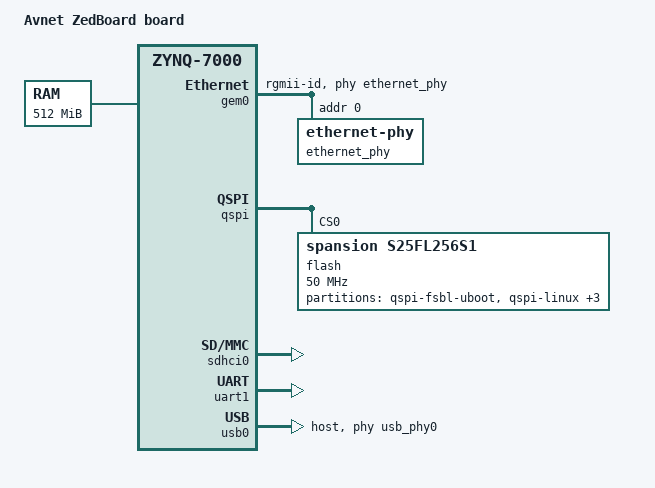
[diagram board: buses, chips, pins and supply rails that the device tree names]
// SPDX-License-Identifier: GPL-2.0+
/*
 *  Copyright (C) 2011 - 2015 Xilinx
 *  Copyright (C) 2012 National Instruments Corp.
 */
/dts-v1/;
#include "zynq-7000.dtsi"

/ {
	model = "Avnet ZedBoard board";
	compatible = "avnet,zynq-zed", "xlnx,zynq-zed", "xlnx,zynq-7000";

	aliases {
		ethernet0 = &gem0;
		serial0 = &uart1;
		spi0 = &qspi;
		mmc0 = &sdhci0;
	};

	memory@0 {
		device_type = "memory";
		reg = <0x0 0x20000000>;
	};

	chosen {
		bootargs = "";
		stdout-path = "serial0:115200n8";
	};

	usb_phy0: phy0@e0002000 {
		compatible = "ulpi-phy";
		#phy-cells = <0>;
		reg = <0xe0002000 0x1000>;
		view-port = <0x0170>;
		drv-vbus;
	};
};

&clkc {
	ps-clk-frequency = <33333333>;
};

&gem0 {
	status = "okay";
	phy-mode = "rgmii-id";
	phy-handle = <&ethernet_phy>;

	ethernet_phy: ethernet-phy@0 {
		reg = <0>;
		device_type = "ethernet-phy";
	};
};

&qspi {
	u-boot,dm-pre-reloc;
	status = "okay";
	is-dual = <0>;
	num-cs = <1>;
	flash@0 {
		compatible = "spansion,s25fl256s1", "jedec,spi-nor";
		reg = <0>;
		spi-tx-bus-width = <1>;
		spi-rx-bus-width = <4>;
		spi-max-frequency = <50000000>;
		m25p,fast-read;
		#address-cells = <1>;
		#size-cells = <1>;
		partition@0 {
			label = "qspi-fsbl-uboot";
			reg = <0x0 0x100000>;
		};
		partition@100000 {
			label = "qspi-linux";
			reg = <0x100000 0x500000>;
		};
		partition@600000 {
			label = "qspi-device-tree";
			reg = <0x600000 0x20000>;
		};
		partition@620000 {
			label = "qspi-rootfs";
			reg = <0x620000 0x5E0000>;
		};
		partition@c00000 {
			label = "qspi-bitstream";
			reg = <0xC00000 0x400000>;
		};
	};
};

&sdhci0 {
	u-boot,dm-pre-reloc;
	status = "okay";
};

&uart1 {
	u-boot,dm-pre-reloc;
	status = "okay";
};

&usb0 {
	status = "okay";
	dr_mode = "host";
	usb-phy = <&usb_phy0>;
};
